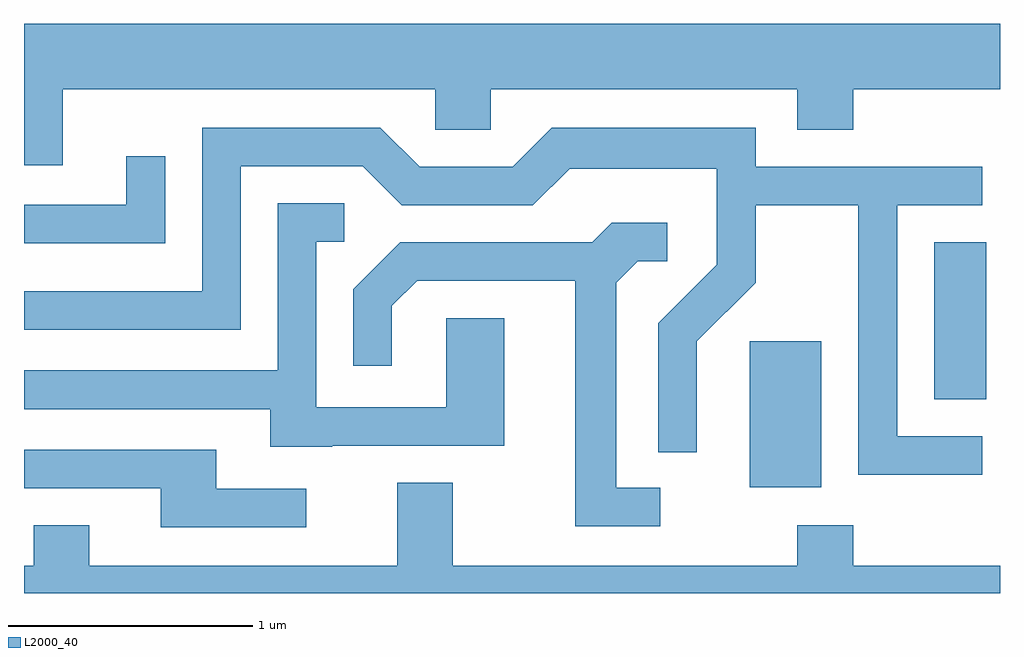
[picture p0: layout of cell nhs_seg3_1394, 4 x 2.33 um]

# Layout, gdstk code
import gdstk
lib = gdstk.Library(unit=1e-6, precision=1e-09)
def R(c, l, rs):  # rectangles x0, y0, x1, y1
    for r in rs: c.add(gdstk.rectangle(r[:2], r[2:], *l))
def P(c, l, *ps):  # polygons
    for p in ps: c.add(gdstk.Polygon(p, *l))
L2000_40 = (2000, 40)

nhs_seg3_1394 = lib.new_cell('nhs_seg3_1394')
R(nhs_seg3_1394, L2000_40, [(228.586,1184.326,228.879,1184.924), (229.341,1184.686,229.554,1185.329)])
P(nhs_seg3_1394, L2000_40, [(225.769,1185.956),(227.296,1185.956),(227.296,1185.791),(227.524,1185.791),(227.524,1185.956),(228.781,1185.956),(228.781,1185.791),(229.009,1185.791),(229.009,1185.956),(229.611,1185.956),(229.611,1186.224),(225.611,1186.224),(225.611,1185.646),(225.769,1185.646)],
  [(229.538,1184.534),(229.189,1184.534),(229.189,1185.481),(229.538,1185.481),(229.538,1185.639),(228.609,1185.639),(228.609,1185.799),(227.774,1185.799),(227.614,1185.639),(227.232,1185.639),(227.072,1185.799),(226.341,1185.799),(226.341,1185.129),(225.611,1185.129),(225.611,1184.971),(226.499,1184.971),(226.499,1185.641),(226.999,1185.641),(227.159,1185.481),(227.697,1185.481),(227.847,1185.631),(228.451,1185.631),(228.451,1185.237),(228.211,1184.997),(228.211,1184.468),(228.369,1184.468),(228.369,1184.924),(228.609,1185.164),(228.609,1185.481),(229.031,1185.481),(229.031,1184.376),(229.538,1184.376)],
  [(226.189,1185.683),(226.031,1185.683),(226.031,1185.484),(225.611,1185.484),(225.611,1185.326),(226.189,1185.326)],
  [(226.875,1184.496),(227.579,1184.496),(227.579,1185.019),(227.341,1185.019),(227.341,1184.654),(226.809,1184.654),(226.809,1185.331),(226.923,1185.331),(226.923,1185.489),(226.651,1185.489),(226.651,1184.804),(225.611,1184.804),(225.611,1184.646),(226.621,1184.646),(226.621,1184.491),(226.875,1184.491)],
  [(228.218,1184.324),(228.039,1184.324),(228.039,1185.164),(228.127,1185.251),(228.248,1185.251),(228.248,1185.409),(228.019,1185.409),(227.939,1185.329),(227.154,1185.329),(226.961,1185.137),(226.961,1184.823),(227.119,1184.823),(227.119,1185.069),(227.222,1185.171),(227.871,1185.171),(227.871,1184.166),(228.218,1184.166)],
  [(226.768,1184.319),(226.399,1184.319),(226.399,1184.479),(225.611,1184.479),(225.611,1184.321),(226.171,1184.321),(226.171,1184.161),(226.768,1184.161)],
  [(229.611,1184.004),(229.009,1184.004),(229.009,1184.169),(228.781,1184.169),(228.781,1184.004),(227.369,1184.004),(227.369,1184.344),(227.141,1184.344),(227.141,1184.004),(225.879,1184.004),(225.879,1184.169),(225.651,1184.169),(225.651,1184.004),(225.611,1184.004),(225.611,1183.892),(229.611,1183.892)])

lib.write_gds('nhs_seg3_1394.gds')
